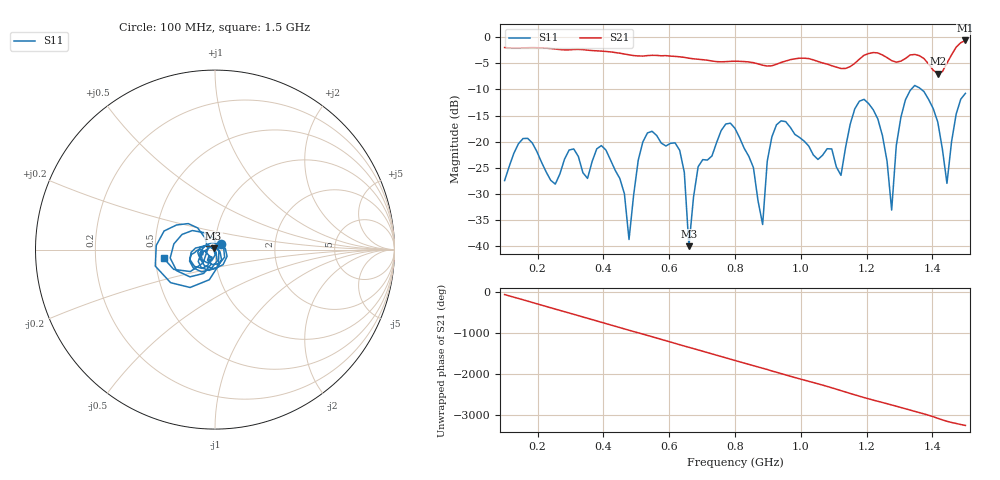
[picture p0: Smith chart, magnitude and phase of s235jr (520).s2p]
! NanoVNA-App
! Date: 2025-09-25 15:08:12
! Start: 100MHz Stop: 1,5GHz Points: 101
! S-Parameter data: F S11 S21 S12 S22
# Hz S RI R 50
!  Frequency  S11_Real  S11_Imag  S21_Real  S21_Imag  S12_Real  S12_Imag  S22_Real  S22_Imag
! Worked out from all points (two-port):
!   101 points, 100 MHz to 1.5 GHz, reference 50 ohm
!   highest |S21| = -0.61 dB at 1.5 GHz (marker M1); lowest = -7.0 dB at 1.416 GHz (marker M2)
!   |S21| within 3 dB of the highest: start of sweep to 603.5 MHz; 1.189 GHz to 1.254 GHz (64.96 MHz wide, 5.32 % of centre) (the widest 2 of 4)
!   lowest |S11| = -40.0 dB at 660 MHz (marker M3), VSWR 1.02, Z = 49.2 + j0.635 ohm
!   |S11| at or under -10 dB: start of sweep to 1.335 GHz; 1.366 GHz to end of sweep
!   S12 and S22 are empty: the file has one direction only
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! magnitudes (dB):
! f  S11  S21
! 100 MHz  -27.5  -2.0
! 156 MHz  -19.4  -2.0
! 338 MHz  -26.0  -2.4
! 408 MHz  -21.6  -2.7
! 478 MHz  -38.8  -3.4
! 520 MHz  -20.1  -3.6
! 576 MHz  -20.3  -3.5
! 632 MHz  -21.7  -3.7
! 660 MHz  -40.0  -4.0
! 688 MHz  -24.8  -4.2
! 800 MHz  -17.5  -4.6
! 884 MHz  -35.9  -5.4
! 926 MHz  -16.8  -5.2
! 1.038 GHz  -22.6  -4.3
! 1.122 GHz  -26.5  -6.0
! 1.192 GHz  -11.9  -3.5
! 1.248 GHz  -18.9  -3.4
! 1.276 GHz  -33.1  -4.5
! 1.332 GHz  -10.2  -3.4
! 1.416 GHz  -16.2  -7.0
! 1.444 GHz  -28.0  -5.0
! 1.5 GHz  -10.8  -0.6
